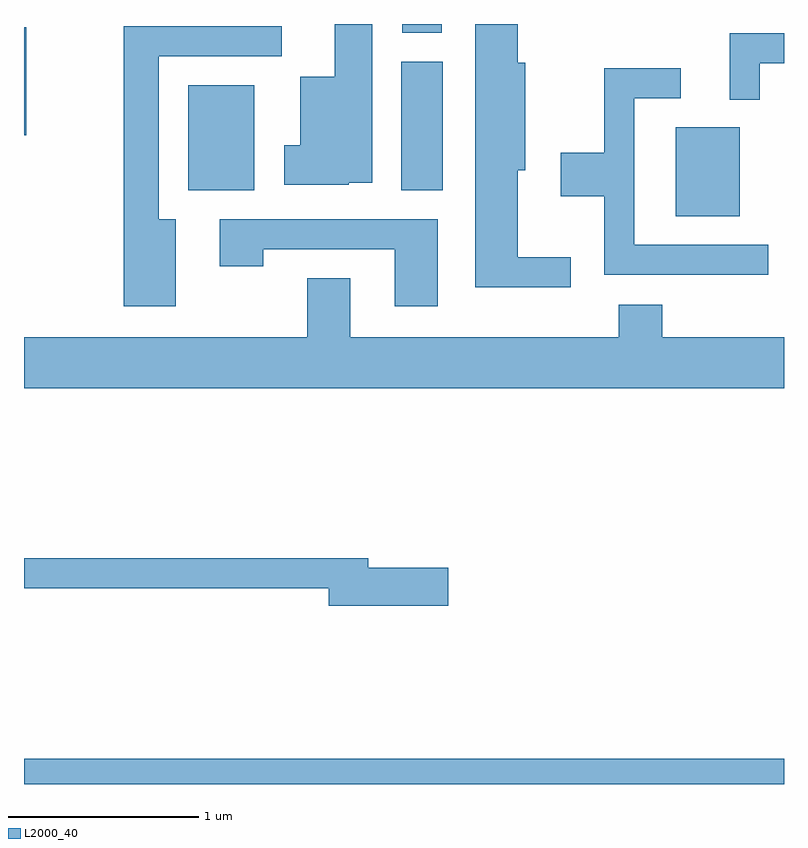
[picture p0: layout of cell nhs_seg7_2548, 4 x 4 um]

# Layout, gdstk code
import gdstk
lib = gdstk.Library(unit=1e-6, precision=1e-09)
def R(c, l, rs):  # rectangles x0, y0, x1, y1
    for r in rs: c.add(gdstk.rectangle(r[:2], r[2:], *l))
def P(c, l, *ps):  # polygons
    for p in ps: c.add(gdstk.Polygon(p, *l))
L2000_40 = (2000, 40)

nhs_seg7_2548 = lib.new_cell('nhs_seg7_2548')
R(nhs_seg7_2548, L2000_40, [(263.611,1692.252,267.611,1692.384), (267.041,1695.241,267.379,1695.709), (264.476,1695.376,264.824,1695.929), (265.596,1695.376,265.814,1696.054), (263.611,1695.666,263.624,1696.234), (265.601,1696.206,265.809,1696.252)])
P(nhs_seg7_2548, L2000_40, [(265.32,1695.416),(265.444,1695.416),(265.444,1696.252),(265.246,1696.252),(265.246,1695.974),(265.066,1695.974),(265.066,1695.614),(264.981,1695.614),(264.981,1695.406),(265.32,1695.406)],
  [(266.488,1695.024),(266.209,1695.024),(266.209,1695.481),(266.249,1695.481),(266.249,1696.049),(266.209,1696.049),(266.209,1696.252),(265.986,1696.252),(265.986,1694.866),(266.488,1694.866)],
  [(264.409,1695.224),(264.319,1695.224),(264.319,1696.081),(264.968,1696.081),(264.968,1696.239),(264.136,1696.239),(264.136,1694.766),(264.409,1694.766)],
  [(267.484,1696.046),(267.611,1696.046),(267.611,1696.204),(267.326,1696.204),(267.326,1695.853),(267.484,1695.853)],
  [(267.528,1695.089),(266.824,1695.089),(266.824,1695.861),(267.068,1695.861),(267.068,1696.019),(266.666,1696.019),(266.666,1695.574),(266.436,1695.574),(266.436,1695.346),(266.666,1695.346),(266.666,1694.931),(267.528,1694.931)],
  [(265.789,1695.224),(264.641,1695.224),(264.641,1694.976),(264.869,1694.976),(264.869,1695.066),(265.561,1695.066),(265.561,1694.766),(265.789,1694.766)],
  [(267.611,1694.604),(266.969,1694.604),(266.969,1694.774),(266.741,1694.774),(266.741,1694.604),(265.329,1694.604),(265.329,1694.914),(265.101,1694.914),(265.101,1694.604),(263.611,1694.604),(263.611,1694.336),(267.611,1694.336)],
  [(265.844,1693.389),(265.424,1693.389),(265.424,1693.439),(263.611,1693.439),(263.611,1693.281),(265.216,1693.281),(265.216,1693.191),(265.844,1693.191)])

lib.write_gds('nhs_seg7_2548.gds')
